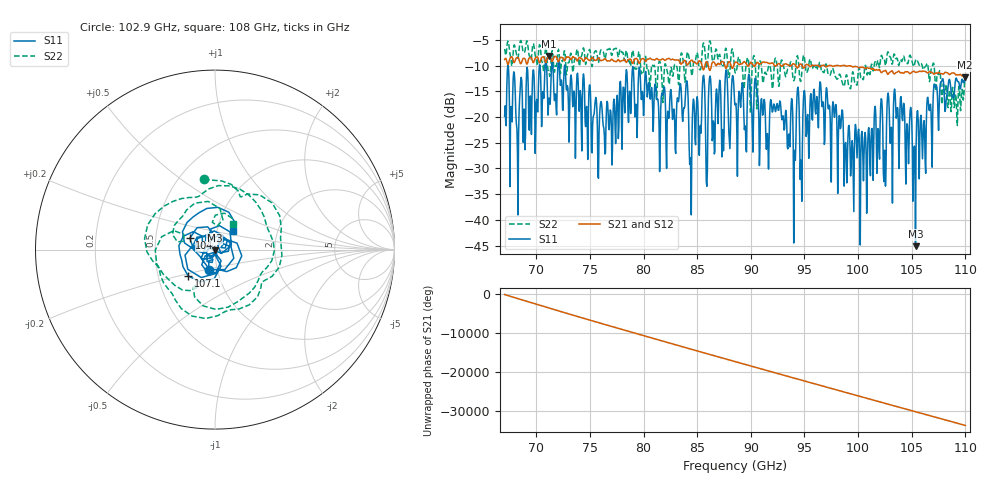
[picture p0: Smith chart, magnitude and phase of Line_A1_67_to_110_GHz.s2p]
#  HZ  S  MA  R  50.00
! Rohde & Schwarz ZVA67 4Ports - Version 4.11 - 1305.7002k04 SN: 101051
! Date: 2023-09-13 16:06:51
! Measurements: S11 S21 S12 S22
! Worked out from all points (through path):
!   860 points, 67.05 GHz to 110 GHz, reference 50 ohm
!   highest |S21| = -8.11 dB at 71.2 GHz (marker M1); lowest = -12.2 dB at 110 GHz (marker M2)
!   lowest |S11| = -45.1 dB at 105.3 GHz (marker M3), VSWR 1.01, Z = 49.7 - j0.479 ohm
!   |S11| at or under -10 dB: 67.37 GHz to 70.29 GHz (2.92 GHz wide, 4.24 % of centre); 71.54 GHz to 72.03 GHz (483.8 MHz wide, 0.674 % of centre); 72.66 GHz to end of sweep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
!   |S22| runs from -21.6 to -5.1 dB; largest |S21 - S12| = 0.052
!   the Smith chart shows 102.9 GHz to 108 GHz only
!   S11 on the Smith chart (normalised r, x): 102.9 GHz: 0.91, -0.21; 104 GHz: 0.75, +0.10; 107.1 GHz: 0.71, -0.22; 108 GHz: 1.19, +0.25
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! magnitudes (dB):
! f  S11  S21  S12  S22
! 67.05 GHz  -19.8  -8.8  -8.8  -6.8
! 71.2 GHz  -16.3  -8.1  -8.1  -11.3
! 74.25 GHz  -26.6  -8.7  -8.7  -8.0
! 81.4 GHz  -18.1  -8.9  -8.8  -9.6
! 83.95 GHz  -14.0  -9.4  -9.3  -10.6
! 84.4 GHz  -30.4  -9.0  -9.0  -10.3
! 85.55 GHz  -12.1  -10.8  -10.8  -5.8
! 85.9 GHz  -33.5  -9.2  -9.2  -10.5
! 86.2 GHz  -12.0  -10.9  -10.9  -5.2
! 88.55 GHz  -17.7  -9.4  -9.4  -11.4
! 90.5 GHz  -13.5  -9.6  -9.6  -14.3
! 94.05 GHz  -28.7  -9.7  -9.7  -12.8
! 95.7 GHz  -20.3  -9.9  -9.9  -10.6
! 99.45 GHz  -24.6  -10.2  -10.2  -11.6
! 102.8 GHz  -16.2  -11.6  -11.5  -7.7
! 102.9 GHz  -18.6  -11.4  -11.4  -8.1
! 104 GHz  -16.3  -11.4  -11.4  -8.8
! 105.3 GHz  -45.1  -11.3  -11.3  -8.9
! 107.1 GHz  -13.6  -11.6  -11.6  -10.3
! 108 GHz  -16.9  -11.4  -11.4  -15.1
! 110 GHz  -12.7  -12.2  -12.2  -12.8
! 110 GHz  -12.9  -12.2  -12.1  -12.9
